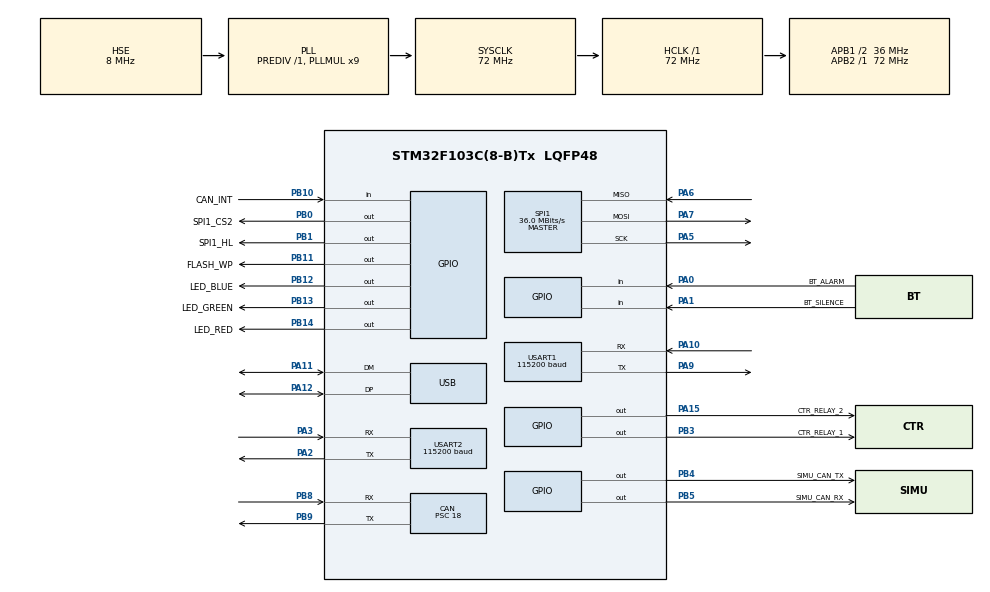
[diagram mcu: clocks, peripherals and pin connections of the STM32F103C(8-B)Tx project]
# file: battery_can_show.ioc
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CAN.ABOM=ENABLE
CAN.BS1=CAN_BS1_2TQ
CAN.CalculateBaudRate=500000
CAN.CalculateTimeBit=2000
CAN.CalculateTimeQuantum=500.0
CAN.Prescaler=18
IWDG.Prescaler=IWDG_PRESCALER_64
IWDG.Reload=3124
Mcu.Family=STM32F1
Mcu.Name=STM32F103C(8-B)Tx
Mcu.Package=LQFP48
NVIC.CAN1_RX1_IRQn=true\:0\:0\:false\:false\:true\:true\:true\:true
NVIC.CAN1_SCE_IRQn=true\:0\:0\:false\:false\:true\:true\:true\:true
NVIC.PriorityGroup=NVIC_PRIORITYGROUP_4
NVIC.USART1_IRQn=true\:0\:0\:false\:false\:true\:true\:true\:true
NVIC.USART2_IRQn=true\:0\:0\:false\:false\:true\:true\:true\:true
NVIC.USB_HP_CAN1_TX_IRQn=true\:0\:0\:false\:false\:true\:true\:true\:true
NVIC.USB_LP_CAN1_RX0_IRQn=true\:0\:0\:false\:false\:true\:true\:true\:true
PA0-WKUP.GPIO_Label=BT_ALARM
PA0-WKUP.Signal=GPIO_Input
PA1.GPIO_Label=BT_SILENCE
PA1.Signal=GPIO_Input
PA10.Mode=Asynchronous
PA10.Signal=USART1_RX
PA11.Mode=Device
PA11.Signal=USB_DM
PA12.Mode=Device
PA12.Signal=USB_DP
PA13.Mode=Serial_Wire
PA13.Signal=SYS_JTMS-SWDIO
PA14.Mode=Serial_Wire
PA14.Signal=SYS_JTCK-SWCLK
PA15.GPIO_Label=CTR_RELAY_2
PA15.Signal=GPIO_Output
PA2.Mode=Asynchronous
PA2.Signal=USART2_TX
PA3.Mode=Asynchronous
PA3.Signal=USART2_RX
PA5.Mode=Full_Duplex_Master
PA5.Signal=SPI1_SCK
PA6.Mode=Full_Duplex_Master
PA6.Signal=SPI1_MISO
PA7.Mode=Full_Duplex_Master
PA7.Signal=SPI1_MOSI
PA9.Mode=Asynchronous
PA9.Signal=USART1_TX
PB0.GPIO_Label=SPI1_CS2
PB0.Signal=GPIO_Output
PB1.GPIO_Label=SPI1_HL
PB1.Signal=GPIO_Output
PB10.GPIO_Label=CAN_INT
PB10.Signal=GPIO_Input
PB11.GPIO_Label=FLASH_WP
PB11.Signal=GPIO_Output
PB12.GPIO_Label=LED_BLUE
PB12.Signal=GPIO_Output
PB13.GPIO_Label=LED_GREEN
PB13.Signal=GPIO_Output
PB14.GPIO_Label=LED_RED
PB14.Signal=GPIO_Output
PB3.GPIO_Label=CTR_RELAY_1
PB3.Signal=GPIO_Output
PB4.GPIO_Label=SIMU_CAN_TX
PB4.Signal=GPIO_Output
PB5.GPIO_Label=SIMU_CAN_RX
PB5.Signal=GPIO_Output
PB8.Mode=CAN_Activate
PB8.Signal=CAN_RX
PB9.Mode=CAN_Activate
PB9.Signal=CAN_TX
PC14-OSC32_IN.Mode=LSE-External-Oscillator
PC14-OSC32_IN.Signal=RCC_OSC32_IN
PC15-OSC32_OUT.Mode=LSE-External-Oscillator
PC15-OSC32_OUT.Signal=RCC_OSC32_OUT
PD0-OSC_IN.Mode=HSE-External-Oscillator
PD0-OSC_IN.Signal=RCC_OSC_IN
PD1-OSC_OUT.Mode=HSE-External-Oscillator
PD1-OSC_OUT.Signal=RCC_OSC_OUT
ProjectManager.HeapSize=0x200
ProjectManager.StackSize=0x400
ProjectManager.TargetToolchain=STM32CubeIDE
RCC.AHBFreq_Value=72000000
RCC.APB1CLKDivider=RCC_HCLK_DIV2
RCC.APB1Freq_Value=36000000
RCC.APB1TimFreq_Value=72000000
RCC.APB2Freq_Value=72000000
RCC.APB2TimFreq_Value=72000000
RCC.HCLKFreq_Value=72000000
RCC.PLLMUL=RCC_PLL_MUL9
RCC.PLLSourceVirtual=RCC_PLLSOURCE_HSE
RCC.SYSCLKFreq_VALUE=72000000
RCC.SYSCLKSource=RCC_SYSCLKSOURCE_PLLCLK
RCC.USBFreq_Value=48000000
RCC.USBPrescaler=RCC_USBCLKSOURCE_PLL_DIV1_5
SPI1.BaudRatePrescaler=SPI_BAUDRATEPRESCALER_2
SPI1.CalculateBaudRate=36.0 MBits/s
SPI1.Direction=SPI_DIRECTION_2LINES
SPI1.Mode=SPI_MODE_MASTER
SPI1.VirtualType=VM_MASTER
USART1.BaudRate=115200
USART1.VirtualMode=VM_ASYNC
USART2.BaudRate=115200
USART2.VirtualMode=VM_ASYNC
USB_DEVICE.CLASS_NAME_FS=CDC
USB_DEVICE.MANUFACTURER_STRING=MPS
USB_DEVICE.PRODUCT_STRING_CDC_FS=BatteryMonitorComPort
USB_DEVICE.VirtualMode=Cdc
USB_DEVICE.VirtualModeFS=Cdc_FS
VP_IWDG_VS_IWDG.Mode=IWDG_Activate
VP_USB_DEVICE_VS_USB_DEVICE_CDC_FS.Mode=CDC_FS
board=custom

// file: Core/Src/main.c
/* USER CODE BEGIN Header */
/**
 ******************************************************************************
 * @file           : main.c
 * @brief          : Main program body
 ******************************************************************************
 * @attention
 *
 * Copyright (c) 2023 STMicroelectronics.
 * All rights reserved.
 *
 * This software is licensed under terms that can be found in the LICENSE file
 * in the root directory of this software component.
 * If no LICENSE file comes with this software, it is provided AS-IS.
 *
 ******************************************************************************
 */
/* USER CODE END Header */
#include "main.h"
#include "usb_device.h"

/* USER CODE BEGIN Includes */
#include <stdio.h>
#include <stdarg.h>
#include <string.h>
#include <stdbool.h>
#include "common.h"
#include "CANparser.h"
#include "CANsend.h"
#include "SerialMessage.h"
#include "ui_common.h"
#include "ui_process.h"

#include "battery_manager.h"
/* USER CODE END Includes */

/* USER CODE BEGIN PTD */
#define TEST_MONITOR (1)
/* USER CODE END PTD */

/* USER CODE BEGIN PM */
uint8_t RxData[8];
/* USER CODE END PM */

CAN_HandleTypeDef hcan;

IWDG_HandleTypeDef hiwdg;

SPI_HandleTypeDef hspi1;

UART_HandleTypeDef huart1;
UART_HandleTypeDef huart2;

/* USER CODE BEGIN PV */
CAN_RxHeaderTypeDef RxHeader;
CAN_TxHeaderTypeDef TxHeader;
bool datacheck = false;
// CAN_FilterTypeDef sFilterConfig; // declare CAN filter structure
/* USER CODE END PV */

void SystemClock_Config(void);
static void MX_GPIO_Init(void);
static void MX_USART1_UART_Init(void);
static void MX_USART2_UART_Init(void);
static void MX_CAN_Init(void);
static void MX_SPI1_Init(void);
static void MX_IWDG_Init(void);
/* USER CODE BEGIN PFP */

void test(void)
{
  // CANParser_showBatteryInfo();
  // CANsend_inverter_message();
  serialMessageSend();
  CANParser_checkBatteryStatus(1000);
}

void setNextionBaudate(vod)
{
  static uint32_t current = 0;
  current = HAL_GetTick();
  while ((HAL_GetTick() - current) < 1000)
  {
    // wait in 1s
  }
  //
  current = HAL_GetTick();
  nextion_setBaud(115200);

  LOGI("set the baudrate nextion to 115200");
  while ((HAL_GetTick() - current) < 100)
  {
    // wait in 1s
  }
  // deinit UART
  if (HAL_UART_DeInit(&huart1) != HAL_OK)
  {
    Error_Handler();
  }
  LOGI("set the baudate device to 115200");
  // init again UART
  huart1.Init.BaudRate = 115200; // 9600
  if (HAL_UART_Init(&huart1) != HAL_OK)
  {
    Error_Handler();
  }
}
/* USER CODE END PFP */

/* USER CODE BEGIN 0 */
// CAN_RxHeaderTypeDef RxHeader;
// CAN_TxHeaderTypeDef TxHeader;
/* Timer interrupt function executes every 1 ms */
// void HAL_TIM_PeriodElapsedCallback(TIM_HandleTypeDef *htim)
//{
//   if (htim->Instance == htim2.Instance)
//   {
//   }
// }
Battery_info_t info[12];
/* USER CODE END 0 */

int main(void)
{

  /* MCU Configuration--------------------------------------------------------*/

  /* Reset of all peripherals, Initializes the Flash interface and the Systick. */
  HAL_Init();

  /* Configure the system clock */
  SystemClock_Config();

  /* Initialize all configured peripherals */
  MX_GPIO_Init();
  MX_USART1_UART_Init();
  MX_USART2_UART_Init();
  MX_CAN_Init();
  MX_USB_DEVICE_Init();
  MX_SPI1_Init();
  MX_IWDG_Init();
  /* USER CODE BEGIN 2 */
  // setNextionBaudate();
  HAL_IWDG_Refresh(&hiwdg);
  ui_common_init();
  battery_manager_init();
  // register functions process json command
  SerialMessageRegister();
  // start
  HAL_CAN_Start(&hcan);

  // Activate the notification
  HAL_CAN_ActivateNotification(&hcan, CAN_IT_RX_FIFO1_MSG_PENDING);
  /* USER CODE END 2 */

  /* Infinite loop */
  /* USER CODE BEGIN WHILE */
  //  LOGI("Program starting...");
  while (1)
  {
    static uint32_t clear_wdog_prev = 0;
    if (HAL_GetTick() - clear_wdog_prev >= 1000)
    {
      clear_wdog_prev = HAL_GetTick();
      HAL_IWDG_Refresh(&hiwdg);
    }
    /* USER CODE END WHILE */

    /* USER CODE BEGIN 3 */
    ui_process_updatePage();

    static uint32_t can_update_prev = 0;
    if (HAL_GetTick() - can_update_prev >= 3000)
    {
      can_update_prev = HAL_GetTick();
      test();
    }

    static uint32_t lcd_update_prev = 0;
    if (HAL_GetTick() - lcd_update_prev >= 500)
    {
      lcd_update_prev = HAL_GetTick();
      nextion_update();
    }

    static uint32_t lcd_get_update_prev = 0;
    if (HAL_GetTick() - lcd_get_update_prev >= 100)
    {
      lcd_get_update_prev = HAL_GetTick();
      ui_get_data();
    }

    static uint32_t nextion_update_prev = 0;
    if (HAL_GetTick() - nextion_update_prev >= 50)
    {
      nextion_update_prev = HAL_GetTick();
      ui_progress_event_handler();
    }

    static uint32_t uiser_debug_update_prev = 0;
    if (HAL_GetTick() - uiser_debug_update_prev >= 2000)
    {
      uiser_debug_update_prev = HAL_GetTick();
      LOGI("current page: %d", get_pageID());
    }

    static uint32_t timer_update_prev = 0;
    if (HAL_GetTick() - timer_update_prev >= 1000)
    {
      timer_update_prev = HAL_GetTick();
      battery_time_life();
      battery_total_getValue();
      battery_warrning_check();
      battery_error_check();
      battery_manager_set_error_name();
    }

    static uint32_t json_process_prev = 0;
    if (HAL_GetTick() - json_process_prev >= 50)
    {
      json_process_prev = HAL_GetTick();
      SerialMessageProcessMessage();
    }

#if TEST_MONITOR == 1
    static uint32_t test_alarm_monitor_prev = 0;
    if (HAL_GetTick() - test_alarm_monitor_prev >= 2000)
    {
      test_alarm_monitor_prev = HAL_GetTick();
      LOGI("Test alarm monitor: %x", battery_info[6].alarm.value);
      LOGI("Test alert monitor: %x", battery_info[6].alert.value);
      // LOGI("Test cell[0]: %d", battery_info[6].cell[0].voltage);
      // LOGI("Test temperature[0]: %d", battery_info[6].temperature[0]);
      LOGI("error[6]: %s", battery_info[6].alarm_error_message);
    }
#endif
  }
  /* USER CODE END 3 */
}

void SystemClock_Config(void)
{
  RCC_OscInitTypeDef RCC_OscInitStruct = {0};
  RCC_ClkInitTypeDef RCC_ClkInitStruct = {0};
  RCC_PeriphCLKInitTypeDef PeriphClkInit = {0};

  /** Initializes the RCC Oscillators according to the specified parameters
   * in the RCC_OscInitTypeDef structure.
   */
  RCC_OscInitStruct.OscillatorType = RCC_OSCILLATORTYPE_LSI | RCC_OSCILLATORTYPE_HSE;
  RCC_OscInitStruct.HSEState = RCC_HSE_ON;
  RCC_OscInitStruct.HSEPredivValue = RCC_HSE_PREDIV_DIV1;
  RCC_OscInitStruct.HSIState = RCC_HSI_ON;
  RCC_OscInitStruct.LSIState = RCC_LSI_ON;
  RCC_OscInitStruct.PLL.PLLState = RCC_PLL_ON;
  RCC_OscInitStruct.PLL.PLLSource = RCC_PLLSOURCE_HSE;
  RCC_OscInitStruct.PLL.PLLMUL = RCC_PLL_MUL9;
  if (HAL_RCC_OscConfig(&RCC_OscInitStruct) != HAL_OK)
  {
    Error_Handler();
  }

  /** Initializes the CPU, AHB and APB buses clocks
   */
  RCC_ClkInitStruct.ClockType = RCC_CLOCKTYPE_HCLK | RCC_CLOCKTYPE_SYSCLK | RCC_CLOCKTYPE_PCLK1 | RCC_CLOCKTYPE_PCLK2;
  RCC_ClkInitStruct.SYSCLKSource = RCC_SYSCLKSOURCE_PLLCLK;
  RCC_ClkInitStruct.AHBCLKDivider = RCC_SYSCLK_DIV1;
  RCC_ClkInitStruct.APB1CLKDivider = RCC_HCLK_DIV2;
  RCC_ClkInitStruct.APB2CLKDivider = RCC_HCLK_DIV1;

  if (HAL_RCC_ClockConfig(&RCC_ClkInitStruct, FLASH_LATENCY_2) != HAL_OK)
  {
    Error_Handler();
  }
  PeriphClkInit.PeriphClockSelection = RCC_PERIPHCLK_USB;
  PeriphClkInit.UsbClockSelection = RCC_USBCLKSOURCE_PLL_DIV1_5;
  if (HAL_RCCEx_PeriphCLKConfig(&PeriphClkInit) != HAL_OK)
  {
    Error_Handler();
  }
}

static void MX_CAN_Init(void)
{

  hcan.Instance = CAN1;
  hcan.Init.Prescaler = 18;
  hcan.Init.Mode = CAN_MODE_NORMAL;
  hcan.Init.SyncJumpWidth = CAN_SJW_1TQ;
  hcan.Init.TimeSeg1 = CAN_BS1_2TQ;
  hcan.Init.TimeSeg2 = CAN_BS2_1TQ;
  hcan.Init.TimeTriggeredMode = DISABLE;
  hcan.Init.AutoBusOff = ENABLE;
  hcan.Init.AutoWakeUp = DISABLE;
  hcan.Init.AutoRetransmission = DISABLE;
  hcan.Init.ReceiveFifoLocked = DISABLE;
  hcan.Init.TransmitFifoPriority = DISABLE;
  if (HAL_CAN_Init(&hcan) != HAL_OK)
  {
    Error_Handler();
  }
  /* USER CODE BEGIN CAN_Init 2 */
  CAN_FilterTypeDef canfilterconfig;

  canfilterconfig.FilterActivation = CAN_FILTER_ENABLE;
  canfilterconfig.FilterBank = 0; // which filter bank to use from the assigned ones
  canfilterconfig.FilterFIFOAssignment = CAN_FILTER_FIFO1;
  canfilterconfig.FilterIdHigh = 0;
  canfilterconfig.FilterIdLow = 0;
  canfilterconfig.FilterMaskIdHigh = 0;
  canfilterconfig.FilterMaskIdLow = 0x0000;
  canfilterconfig.FilterMode = CAN_FILTERMODE_IDMASK;
  canfilterconfig.FilterScale = CAN_FILTERSCALE_32BIT;
  canfilterconfig.SlaveStartFilterBank = 0; // doesn't matter in single can controllers

  HAL_CAN_ConfigFilter(&hcan, &canfilterconfig);
  /* USER CODE END CAN_Init 2 */
}

static void MX_IWDG_Init(void)
{

  hiwdg.Instance = IWDG;
  hiwdg.Init.Prescaler = IWDG_PRESCALER_64;
  hiwdg.Init.Reload = 3124;
  if (HAL_IWDG_Init(&hiwdg) != HAL_OK)
  {
    Error_Handler();
  }
}

static void MX_SPI1_Init(void)
{

  /* SPI1 parameter configuration*/
  hspi1.Instance = SPI1;
  hspi1.Init.Mode = SPI_MODE_MASTER;
  hspi1.Init.Direction = SPI_DIRECTION_2LINES;
  hspi1.Init.DataSize = SPI_DATASIZE_8BIT;
  hspi1.Init.CLKPolarity = SPI_POLARITY_LOW;
  hspi1.Init.CLKPhase = SPI_PHASE_1EDGE;
  hspi1.Init.NSS = SPI_NSS_SOFT;
  hspi1.Init.BaudRatePrescaler = SPI_BAUDRATEPRESCALER_2;
  hspi1.Init.FirstBit = SPI_FIRSTBIT_MSB;
  hspi1.Init.TIMode = SPI_TIMODE_DISABLE;
  hspi1.Init.CRCCalculation = SPI_CRCCALCULATION_DISABLE;
  hspi1.Init.CRCPolynomial = 10;
  if (HAL_SPI_Init(&hspi1) != HAL_OK)
  {
    Error_Handler();
  }
}

static void MX_USART1_UART_Init(void)
{

  huart1.Instance = USART1;
  huart1.Init.BaudRate = 115200;
  huart1.Init.WordLength = UART_WORDLENGTH_8B;
  huart1.Init.StopBits = UART_STOPBITS_1;
  huart1.Init.Parity = UART_PARITY_NONE;
  huart1.Init.Mode = UART_MODE_TX_RX;
  huart1.Init.HwFlowCtl = UART_HWCONTROL_NONE;
  huart1.Init.OverSampling = UART_OVERSAMPLING_16;
  if (HAL_UART_Init(&huart1) != HAL_OK)
  {
    Error_Handler();
  }
}

static void MX_USART2_UART_Init(void)
{

  huart2.Instance = USART2;
  huart2.Init.BaudRate = 115200;
  huart2.Init.WordLength = UART_WORDLENGTH_8B;
  huart2.Init.StopBits = UART_STOPBITS_1;
  huart2.Init.Parity = UART_PARITY_NONE;
  huart2.Init.Mode = UART_MODE_TX_RX;
  huart2.Init.HwFlowCtl = UART_HWCONTROL_NONE;
  huart2.Init.OverSampling = UART_OVERSAMPLING_16;
  if (HAL_UART_Init(&huart2) != HAL_OK)
  {
    Error_Handler();
  }
}

static void MX_GPIO_Init(void)
{
  GPIO_InitTypeDef GPIO_InitStruct = {0};

  /* GPIO Ports Clock Enable */
  __HAL_RCC_GPIOC_CLK_ENABLE();
  __HAL_RCC_GPIOD_CLK_ENABLE();
  __HAL_RCC_GPIOA_CLK_ENABLE();
  __HAL_RCC_GPIOB_CLK_ENABLE();

  /*Configure GPIO pin Output Level */
  HAL_GPIO_WritePin(GPIOB, SPI1_CS2_Pin | SPI1_HL_Pin | FLASH_WP_Pin | LED_BLUE_Pin | LED_GREEN_Pin | LED_RED_Pin | CTR_RELAY_1_Pin | SIMU_CAN_TX_Pin | SIMU_CAN_RX_Pin, GPIO_PIN_RESET);

  /*Configure GPIO pin Output Level */
  HAL_GPIO_WritePin(CTR_RELAY_2_GPIO_Port, CTR_RELAY_2_Pin, GPIO_PIN_RESET);

  /*Configure GPIO pins : BT_ALARM_Pin BT_SILENCE_Pin */
  GPIO_InitStruct.Pin = BT_ALARM_Pin | BT_SILENCE_Pin;
  GPIO_InitStruct.Mode = GPIO_MODE_INPUT;
  GPIO_InitStruct.Pull = GPIO_NOPULL;
  HAL_GPIO_Init(GPIOA, &GPIO_InitStruct);

  /*Configure GPIO pins : SPI1_CS2_Pin SPI1_HL_Pin FLASH_WP_Pin LED_BLUE_Pin
                           LED_GREEN_Pin LED_RED_Pin CTR_RELAY_1_Pin SIMU_CAN_TX_Pin
                           SIMU_CAN_RX_Pin */
  GPIO_InitStruct.Pin = SPI1_CS2_Pin | SPI1_HL_Pin | FLASH_WP_Pin | LED_BLUE_Pin | LED_GREEN_Pin | LED_RED_Pin | CTR_RELAY_1_Pin | SIMU_CAN_TX_Pin | SIMU_CAN_RX_Pin;
  GPIO_InitStruct.Mode = GPIO_MODE_OUTPUT_PP;
  GPIO_InitStruct.Pull = GPIO_NOPULL;
  GPIO_InitStruct.Speed = GPIO_SPEED_FREQ_LOW;
  HAL_GPIO_Init(GPIOB, &GPIO_InitStruct);

  /*Configure GPIO pin : CAN_INT_Pin */
  GPIO_InitStruct.Pin = CAN_INT_Pin;
  GPIO_InitStruct.Mode = GPIO_MODE_INPUT;
  GPIO_InitStruct.Pull = GPIO_NOPULL;
  HAL_GPIO_Init(CAN_INT_GPIO_Port, &GPIO_InitStruct);

  /*Configure GPIO pin : CTR_RELAY_2_Pin */
  GPIO_InitStruct.Pin = CTR_RELAY_2_Pin;
  GPIO_InitStruct.Mode = GPIO_MODE_OUTPUT_PP;
  GPIO_InitStruct.Pull = GPIO_NOPULL;
  GPIO_InitStruct.Speed = GPIO_SPEED_FREQ_LOW;
  HAL_GPIO_Init(CTR_RELAY_2_GPIO_Port, &GPIO_InitStruct);

}

/* USER CODE BEGIN 4 */
void HAL_CAN_RxFifo1MsgPendingCallback(CAN_HandleTypeDef *hcan)
{
  HAL_CAN_GetRxMessage(hcan, CAN_RX_FIFO1, &RxHeader, RxData);
  CANParser_message(RxHeader.StdId, RxData);
}

/* USER CODE END 4 */

void Error_Handler(void)
{
  __disable_irq();
  while (1)
  {
  }
}
